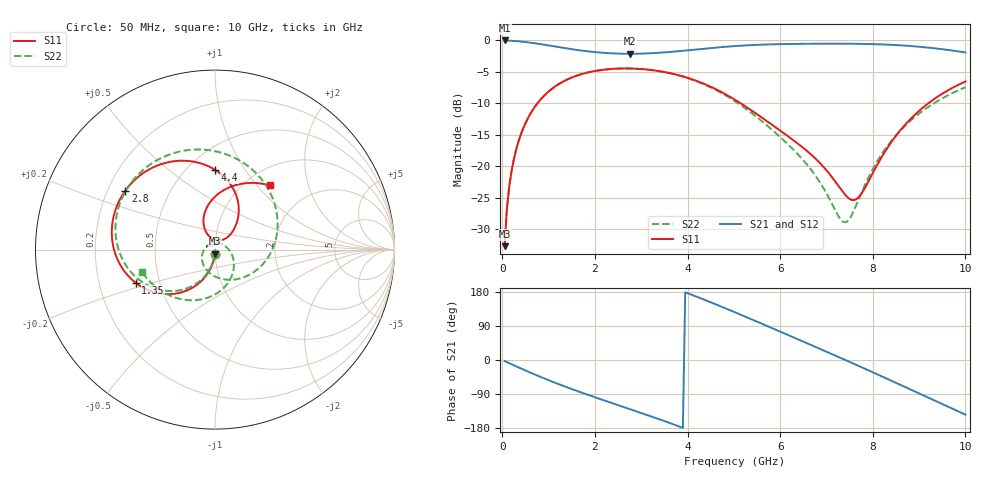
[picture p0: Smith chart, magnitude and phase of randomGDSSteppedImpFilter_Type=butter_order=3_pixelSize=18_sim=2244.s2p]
! freq	dB(S11)	phase(S11)	dB(S12)	phase(S12)
!  dB(S21)	phase(S21)	dB(S22)	phase(S22)
!S-par simulation data
#  GHz  S  DB  R 50
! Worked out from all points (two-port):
!   200 points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, 50 MHz to 10 GHz, reference 50 ohm
!   highest |S21| = 0.00 dB at 50 MHz (marker M1); lowest = -2.1 dB at 2.75 GHz (marker M2)
!   |S21| within 3 dB of the highest: start of sweep to end of sweep
!   lowest |S11| = -32.7 dB at 50 MHz (marker M3), VSWR 1.05, Z = 49.8 - j2.31 ohm
!   |S11| at or under -10 dB: start of sweep to 758.3 MHz; 5.149 GHz to 9.199 GHz (4.049 GHz wide, 56.4 % of centre)
!   |S22| runs from -32.7 to -4.5 dB; largest |S21 - S12| = 0
!   S11 on the Smith chart (normalised r, x): 50 MHz: 1.00, -0.05; 1.35 GHz: 0.36, -0.18; 2.8 GHz: 0.27, +0.28; 4.4 GHz: 0.67, +0.74; 10 GHz: 1.28, +1.18
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0.05  -32.70 -92.8  -0.00 -2.8  -0.00 -2.8  -32.70 -93.0
0.1  -26.70 -95.7  -0.02 -5.6  -0.02 -5.6  -26.70 -96.1
0.15  -23.21 -98.5  -0.03 -8.4  -0.03 -8.4  -23.21 -99.1
0.4  -14.96 -111.9  -0.18 -22.2  -0.18 -22.2  -14.96 -113.7
0.8  -9.62 -132.1  -0.56 -43.3  -0.56 -43.3  -9.62 -135.7
1.35  -6.40 -157.3  -1.22 -69.9  -1.22 -69.9  -6.40 -163.6
1.75  -5.28 -173.8  -1.65 -87.6  -1.65 -87.6  -5.28 177.5
2.75  -4.46 148.5  -2.12 -129.3  -2.12 -129.3  -4.47 132.1
2.8  -4.47 146.7  -2.12 -131.3  -2.12 -131.3  -4.48 129.8
3.4  -4.89 125.2  -1.95 -156.7  -1.95 -156.7  -4.91 101.0
3.95  -5.82 105.6  -1.61 178.7  -1.61 178.7  -5.87 71.9
4.4  -7.03 90.0  -1.29 157.3  -1.29 157.3  -7.12 45.5
5.05  -9.54 70.0  -0.88 124.6  -0.88 124.6  -9.78 2.1
5.85  -13.54 53.1  -0.62 82.9  -0.62 82.9  -14.36 -61.6
6.25  -15.67 48.1  -0.56 61.8  -0.56 61.8  -17.10 -97.9
6.7  -18.35 44.6  -0.53 37.9  -0.53 37.9  -20.85 -143.0
7.4  -24.50 61.1  -0.52 0.4  -0.52 0.4  -28.92 96.0
7.7  -24.88 94.5  -0.54 -15.9  -0.54 -15.9  -25.17 24.9
8.35  -16.69 115.0  -0.68 -51.8  -0.68 -51.8  -16.44 -46.5
8.75  -12.98 103.6  -0.85 -74.2  -0.85 -74.2  -13.19 -77.2
9.15  -10.28 87.7  -1.11 -96.6  -1.11 -96.6  -10.81 -105.4
10  -6.54 49.4  -1.91 -144.2  -1.91 -144.2  -7.45 -162.7
